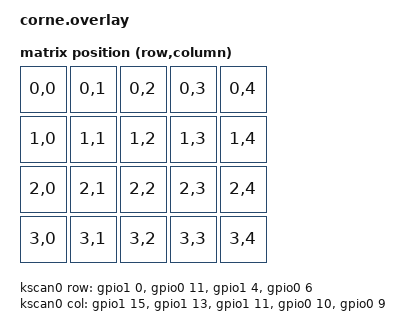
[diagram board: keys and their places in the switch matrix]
/ {
    chosen {
        zmk,kscan = &kscan0;
    };

    kscan0: kscan_0 {
        compatible = "zmk,kscan-gpio-matrix";
        diode-direction = "col2row"; // если диоды стоят от столбцов к строкам

        row-gpios
            = <&gpio1 0  (GPIO_ACTIVE_HIGH | GPIO_PULL_DOWN)> // P1.00
            , <&gpio0 11 (GPIO_ACTIVE_HIGH | GPIO_PULL_DOWN)> // P0.11
            , <&gpio1 4  (GPIO_ACTIVE_HIGH | GPIO_PULL_DOWN)> // P1.04
            , <&gpio0 6  (GPIO_ACTIVE_HIGH | GPIO_PULL_DOWN)> // P0.06 (проверь, точно ли 0.06)
            ;

        col-gpios
            = <&gpio1 15 GPIO_ACTIVE_HIGH> // P1.15
            , <&gpio1 13 GPIO_ACTIVE_HIGH> // P1.13
            , <&gpio1 11 GPIO_ACTIVE_HIGH> // P1.11
            , <&gpio0 10 GPIO_ACTIVE_HIGH> // P0.10
            , <&gpio0 9  GPIO_ACTIVE_HIGH> // P0.09
            ;
    };

    default_transform: keymap_transform_0 {
        compatible = "zmk,matrix-transform";
        columns = <5>;
        rows = <4>;

        map = <
            RC(0,0) RC(0,1) RC(0,2) RC(0,3) RC(0,4)
            RC(1,0) RC(1,1) RC(1,2) RC(1,3) RC(1,4)
            RC(2,0) RC(2,1) RC(2,2) RC(2,3) RC(2,4)
            RC(3,0) RC(3,1) RC(3,2) RC(3,3) RC(3,4)
        >;
    };
};
